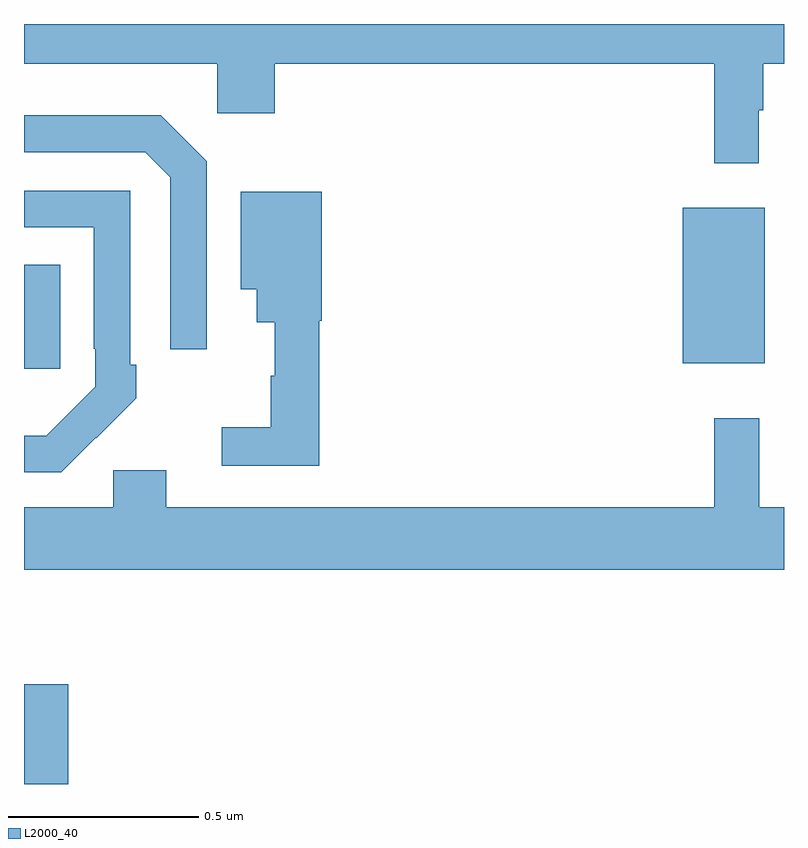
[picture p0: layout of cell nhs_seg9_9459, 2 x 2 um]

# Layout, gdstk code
import gdstk
lib = gdstk.Library(unit=1e-6, precision=1e-09)
def R(c, l, rs):  # rectangles x0, y0, x1, y1
    for r in rs: c.add(gdstk.rectangle(r[:2], r[2:], *l))
def P(c, l, *ps):  # polygons
    for p in ps: c.add(gdstk.Polygon(p, *l))
L2000_40 = (2000, 40)

nhs_seg9_9459 = lib.new_cell('nhs_seg9_9459')
R(nhs_seg9_9459, L2000_40, [(230,1218.5,230.117,1218.763), (230,1219.593,230.095,1219.867), (231.734,1219.607,231.949,1220.017)])
P(nhs_seg9_9459, L2000_40, [(231.934,1220.273),(231.946,1220.273),(231.946,1220.396),(232,1220.396),(232,1220.5),(230,1220.5),(230,1220.396),(230.508,1220.396),(230.508,1220.265),(230.66,1220.265),(230.66,1220.396),(231.817,1220.396),(231.817,1220.133),(231.934,1220.133)],
  [(230.481,1220.139),(230.36,1220.26),(230,1220.26),(230,1220.163),(230.319,1220.163),(230.385,1220.097),(230.385,1219.644),(230.481,1219.644)],
  [(230.189,1219.411),(230.19,1219.41),(230.295,1219.515),(230.295,1219.603),(230.28,1219.603),(230.28,1220.061),(230,1220.061),(230,1219.965),(230.184,1219.965),(230.184,1219.645),(230.187,1219.645),(230.187,1219.545),(230.059,1219.417),(230,1219.417),(230,1219.32),(230.098,1219.32)],
  [(230.777,1219.719),(230.783,1219.719),(230.783,1220.059),(230.57,1220.059),(230.57,1219.802),(230.612,1219.802),(230.612,1219.715),(230.66,1219.715),(230.66,1219.575),(230.649,1219.575),(230.649,1219.439),(230.52,1219.439),(230.52,1219.338),(230.777,1219.338)],
  [(232,1219.228),(231.935,1219.228),(231.935,1219.462),(231.817,1219.462),(231.817,1219.228),(230.374,1219.228),(230.374,1219.326),(230.235,1219.326),(230.235,1219.228),(230,1219.228),(230,1219.064),(232,1219.064)])

lib.write_gds('nhs_seg9_9459.gds')
